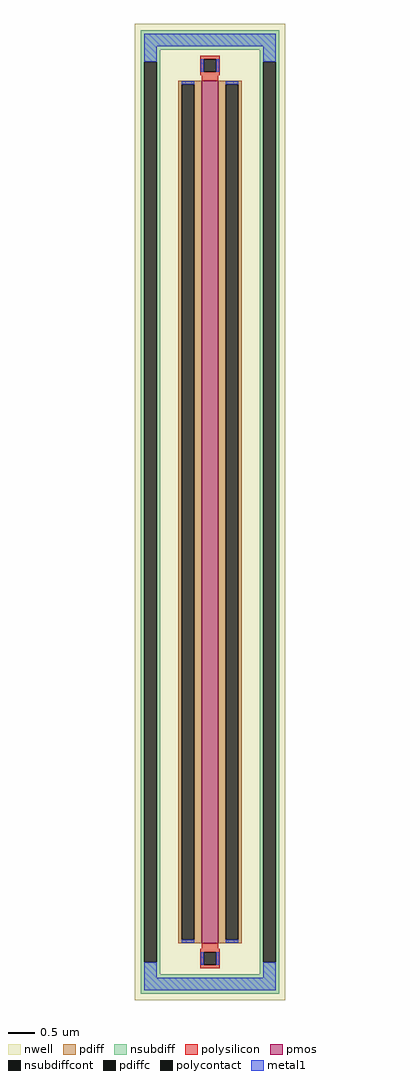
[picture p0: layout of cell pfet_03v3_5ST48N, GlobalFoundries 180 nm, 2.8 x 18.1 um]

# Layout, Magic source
magic
tech gf180mcuD
magscale 1 10
<< nwell >>
rect -280 -1810 280 1810
<< pmos >>
rect -30 -1600 30 1600
<< pdiff >>
rect -118 1587 -30 1600
rect -118 -1587 -105 1587
rect -59 -1587 -30 1587
rect -118 -1600 -30 -1587
rect 30 1587 118 1600
rect 30 -1587 59 1587
rect 105 -1587 118 1587
rect 30 -1600 118 -1587
<< pdiffc >>
rect -105 -1587 -59 1587
rect 59 -1587 105 1587
<< nsubdiff >>
rect -256 1714 256 1786
rect -256 1670 -184 1714
rect -256 -1670 -243 1670
rect -197 -1670 -184 1670
rect 184 1670 256 1714
rect -256 -1714 -184 -1670
rect 184 -1670 197 1670
rect 243 -1670 256 1670
rect 184 -1714 256 -1670
rect -256 -1786 256 -1714
<< nsubdiffcont >>
rect -243 -1670 -197 1670
rect 197 -1670 243 1670
<< polysilicon >>
rect -36 1679 36 1692
rect -36 1633 -23 1679
rect 23 1633 36 1679
rect -36 1620 36 1633
rect -30 1600 30 1620
rect -30 -1620 30 -1600
rect -36 -1633 36 -1620
rect -36 -1679 -23 -1633
rect 23 -1679 36 -1633
rect -36 -1692 36 -1679
<< polycontact >>
rect -23 1633 23 1679
rect -23 -1679 23 -1633
<< metal1 >>
rect -243 1727 243 1773
rect -243 1670 -197 1727
rect -34 1633 -23 1679
rect 23 1633 34 1679
rect 197 1670 243 1727
rect -105 1587 -59 1598
rect -105 -1598 -59 -1587
rect 59 1587 105 1598
rect 59 -1598 105 -1587
rect -243 -1727 -197 -1670
rect -34 -1679 -23 -1633
rect 23 -1679 34 -1633
rect 197 -1727 243 -1670
rect -243 -1773 243 -1727
<< properties >>
string FIXED_BBOX -220 -1750 220 1750
string gencell pfet_03v3
string library gf180mcu
string parameters w 16.0 l 0.3 m 1 nf 1 diffcov 100 polycov 100 guard 1 glc 1 grc 1 gtc 0 gbc 0 tbcov 100 rlcov 100 topc 1 botc 1 poverlap 0 doverlap 1 lmin 0.28 wmin 0.22 class mosfet full_metal 1 compatible {pfet_03v3 pfet_05v0 pfet_06v0} ad {int((nf+1)/2) * W/nf * 0.18u} as {int((nf+2)/2) * W/nf * 0.18u} pd {2*int((nf+1)/2) * (W/nf + 0.18u)} ps {2*int((nf+2)/2) * (W/nf + 0.18u)} nrd {0.18u / W} nrs {0.18u / W} sa 0 sb 0 sd 0
<< end >>
